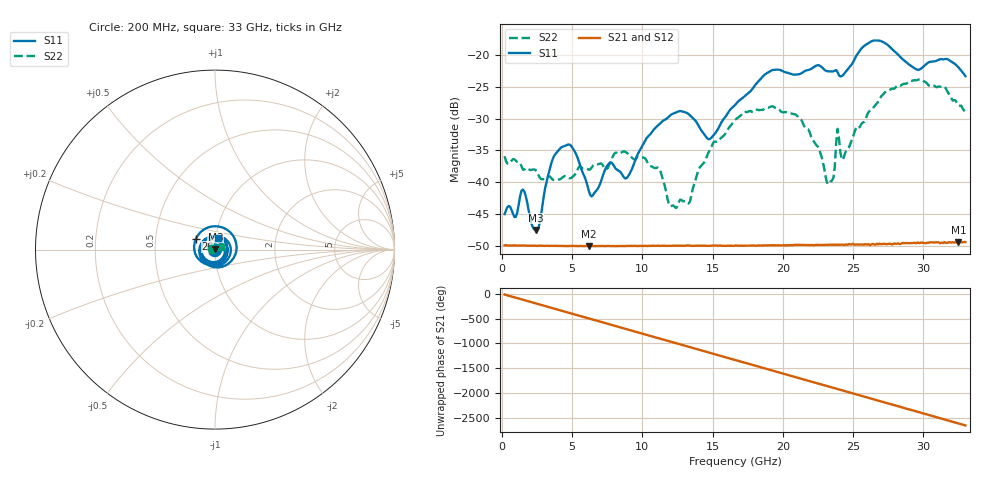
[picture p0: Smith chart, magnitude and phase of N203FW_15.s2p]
# GHZ S RI R 50
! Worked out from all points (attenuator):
!   329 points, 200 MHz to 33 GHz, reference 50 ohm
!   highest |S21| = -49.42 dB at 32.5 GHz (marker M1); lowest = -50.1 dB at 6.2 GHz (marker M2)
!   lowest |S11| = -47.5 dB at 2.4 GHz (marker M3), VSWR 1.01, Z = 50.2 + j0.371 ohm
!   |S11| at or under -10 dB: start of sweep to end of sweep
!   |S22| runs from -44.1 to -23.8 dB; largest |S21 - S12| = 8.8e-05
!   S11 on the Smith chart (normalised r, x): 200 MHz: 1.01, +0.00; 26 GHz: 0.80, +0.10; 33 GHz: 1.03, +0.14
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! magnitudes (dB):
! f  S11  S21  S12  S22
! 200 MHz  -45.0  -50.0  -49.9  -35.9
! 1.5 GHz  -41.2  -50.0  -50.0  -38.0
! 2.4 GHz  -47.5  -50.0  -50.0  -38.1
! 3.8 GHz  -35.6  -50.0  -50.0  -39.6
! 5.7 GHz  -38.2  -50.1  -50.1  -37.8
! 6.2 GHz  -41.4  -50.1  -50.1  -38.1
! 8.9 GHz  -39.3  -50.0  -50.0  -35.4
! 11.2 GHz  -30.9  -50.0  -50.0  -37.8
! 11.9 GHz  -29.7  -50.0  -50.0  -43.6
! 13.3 GHz  -29.3  -50.0  -50.0  -43.4
! 14.8 GHz  -33.2  -50.0  -50.0  -35.0
! 16.6 GHz  -27.9  -50.0  -50.0  -30.2
! 19.3 GHz  -22.4  -49.9  -49.9  -28.1
! 22.1 GHz  -22.1  -49.9  -49.9  -33.2
! 23.3 GHz  -22.6  -49.9  -49.9  -40.3
! 23.6 GHz  -22.6  -49.9  -49.9  -39.4
! 23.9 GHz  -22.7  -49.9  -49.9  -31.6
! 24.3 GHz  -23.1  -49.8  -49.8  -36.4
! 26 GHz  -18.3  -49.8  -49.8  -29.5
! 27.6 GHz  -18.7  -49.7  -49.7  -25.5
! 32.5 GHz  -21.9  -49.4  -49.4  -27.9
! 33 GHz  -23.3  -49.4  -49.5  -29.0
